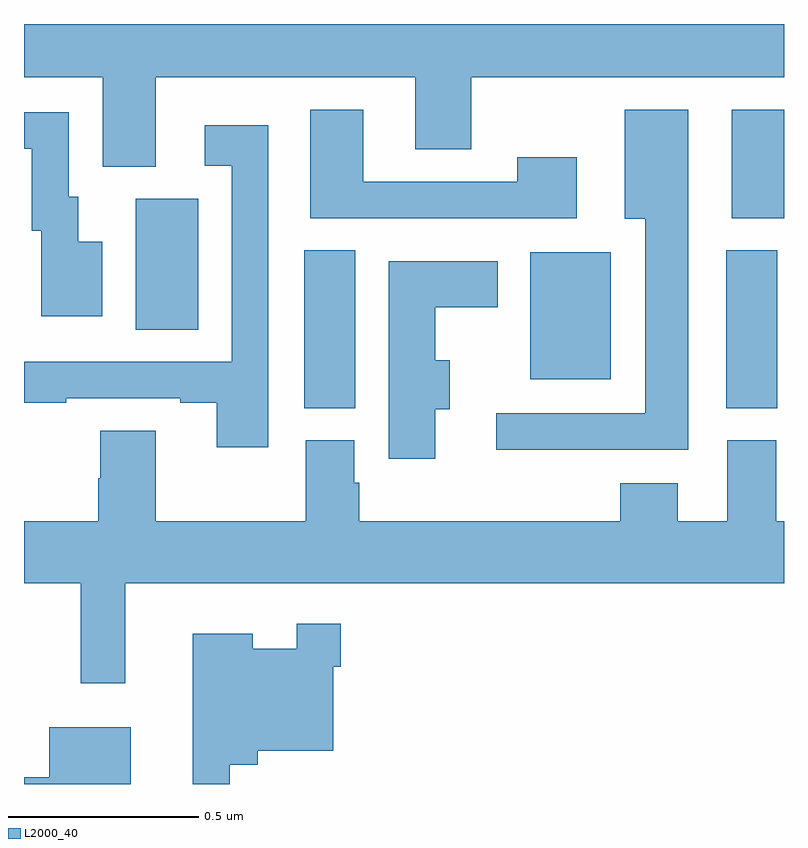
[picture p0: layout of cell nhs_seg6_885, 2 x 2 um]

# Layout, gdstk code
import gdstk
lib = gdstk.Library(unit=1e-6, precision=1e-09)
def R(c, l, rs):  # rectangles x0, y0, x1, y1
    for r in rs: c.add(gdstk.rectangle(r[:2], r[2:], *l))
def P(c, l, *ps):  # polygons
    for p in ps: c.add(gdstk.Polygon(p, *l))
L2000_40 = (2000, 40)

nhs_seg6_885 = lib.new_cell('nhs_seg6_885')
R(nhs_seg6_885, L2000_40, [(122.738,922.489,122.872,922.904), (123.848,922.489,123.982,922.904), (123.332,922.565,123.544,922.9), (122.294,922.696,122.458,923.04), (123.863,922.989,124,923.275)])
P(nhs_seg6_885, L2000_40, [(122.347,923.36),(123.029,923.36),(123.029,923.17),(123.177,923.17),(123.177,923.36),(124,923.36),(124,923.5),(122,923.5),(122,923.36),(122.207,923.36),(122.207,923.125),(122.347,923.125)],
  [(123.454,923.149),(123.298,923.149),(123.298,923.085),(122.893,923.085),(122.893,923.275),(122.753,923.275),(122.753,922.989),(123.454,922.989)],
  [(123.748,923.275),(123.581,923.275),(123.581,922.988),(123.635,922.988),(123.635,922.476),(123.243,922.476),(123.243,922.379),(123.748,922.379)],
  [(122.206,922.927),(122.143,922.927),(122.143,923.046),(122.118,923.046),(122.118,923.268),(122,923.268),(122,923.172),(122.021,923.172),(122.021,922.956),(122.045,922.956),(122.045,922.731),(122.206,922.731)],
  [(122.643,923.233),(122.475,923.233),(122.475,923.127),(122.547,923.127),(122.547,922.611),(122,922.611),(122,922.503),(122.111,922.503),(122.111,922.515),(122.411,922.515),(122.411,922.503),(122.507,922.503),(122.507,922.386),(122.643,922.386)],
  [(123.082,922.486),(123.121,922.486),(123.121,922.615),(123.082,922.615),(123.082,922.754),(123.247,922.754),(123.247,922.876),(122.96,922.876),(122.96,922.356),(123.082,922.356)],
  [(122.266,922.028),(124,922.028),(124,922.192),(123.979,922.192),(123.979,922.404),(123.851,922.404),(123.851,922.192),(123.721,922.192),(123.721,922.291),(123.569,922.291),(123.569,922.192),(122.882,922.192),(122.882,922.293),(122.869,922.293),(122.869,922.404),(122.741,922.404),(122.741,922.192),(122.347,922.192),(122.347,922.43),(122.2,922.43),(122.2,922.305),(122.195,922.305),(122.195,922.192),(122,922.192),(122,922.028),(122.149,922.028),(122.149,921.765),(122.266,921.765)],
  [(122.541,921.551),(122.615,921.551),(122.615,921.587),(122.814,921.587),(122.814,921.809),(122.834,921.809),(122.834,921.922),(122.718,921.922),(122.718,921.856),(122.602,921.856),(122.602,921.895),(122.444,921.895),(122.444,921.5),(122.541,921.5)],
  [(122.281,921.649),(122.066,921.649),(122.066,921.518),(122,921.518),(122,921.5),(122.281,921.5)])

lib.write_gds('nhs_seg6_885.gds')
